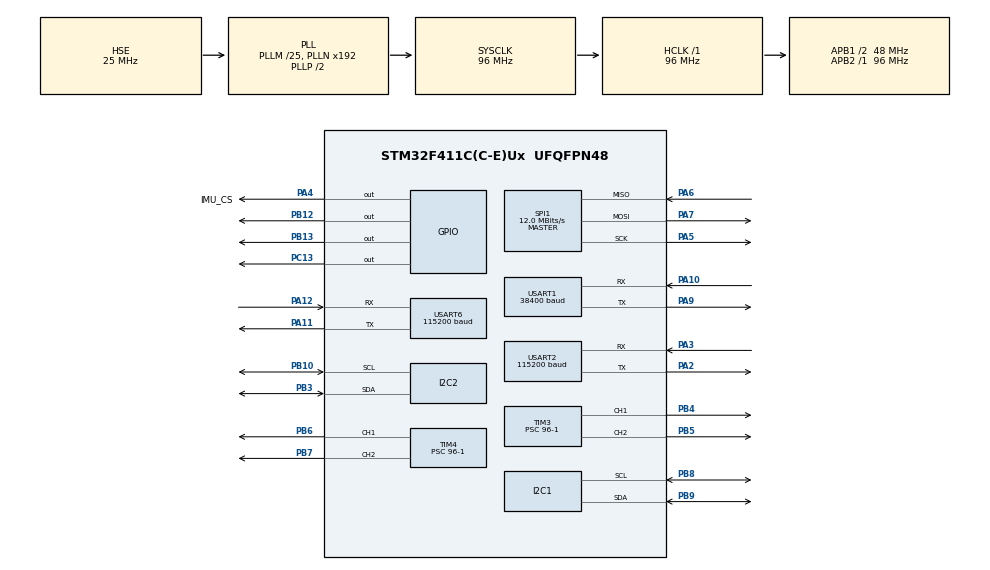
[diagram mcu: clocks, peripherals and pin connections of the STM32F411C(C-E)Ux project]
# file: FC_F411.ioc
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Dma.I2C1_RX.2.Direction=DMA_PERIPH_TO_MEMORY
Dma.I2C1_RX.2.FIFOMode=DMA_FIFOMODE_DISABLE
Dma.I2C1_RX.2.Instance=DMA1_Stream0
Dma.I2C1_RX.2.MemDataAlignment=DMA_MDATAALIGN_BYTE
Dma.I2C1_RX.2.MemInc=DMA_MINC_ENABLE
Dma.I2C1_RX.2.Mode=DMA_NORMAL
Dma.I2C1_RX.2.PeriphDataAlignment=DMA_PDATAALIGN_BYTE
Dma.I2C1_RX.2.PeriphInc=DMA_PINC_DISABLE
Dma.I2C1_RX.2.Priority=DMA_PRIORITY_MEDIUM
Dma.Request0=USART2_RX
Dma.Request1=USART1_RX
Dma.Request2=I2C1_RX
Dma.Request3=USART1_TX
Dma.Request4=USART6_RX
Dma.USART1_RX.1.Direction=DMA_PERIPH_TO_MEMORY
Dma.USART1_RX.1.FIFOMode=DMA_FIFOMODE_DISABLE
Dma.USART1_RX.1.Instance=DMA2_Stream2
Dma.USART1_RX.1.MemDataAlignment=DMA_MDATAALIGN_BYTE
Dma.USART1_RX.1.MemInc=DMA_MINC_ENABLE
Dma.USART1_RX.1.Mode=DMA_CIRCULAR
Dma.USART1_RX.1.PeriphDataAlignment=DMA_PDATAALIGN_BYTE
Dma.USART1_RX.1.PeriphInc=DMA_PINC_DISABLE
Dma.USART1_RX.1.Priority=DMA_PRIORITY_MEDIUM
Dma.USART1_TX.3.Direction=DMA_MEMORY_TO_PERIPH
Dma.USART1_TX.3.FIFOMode=DMA_FIFOMODE_DISABLE
Dma.USART1_TX.3.Instance=DMA2_Stream7
Dma.USART1_TX.3.MemDataAlignment=DMA_MDATAALIGN_BYTE
Dma.USART1_TX.3.MemInc=DMA_MINC_ENABLE
Dma.USART1_TX.3.Mode=DMA_NORMAL
Dma.USART1_TX.3.PeriphDataAlignment=DMA_PDATAALIGN_BYTE
Dma.USART1_TX.3.PeriphInc=DMA_PINC_DISABLE
Dma.USART1_TX.3.Priority=DMA_PRIORITY_MEDIUM
Dma.USART2_RX.0.Direction=DMA_PERIPH_TO_MEMORY
Dma.USART2_RX.0.FIFOMode=DMA_FIFOMODE_DISABLE
Dma.USART2_RX.0.Instance=DMA1_Stream5
Dma.USART2_RX.0.MemDataAlignment=DMA_MDATAALIGN_BYTE
Dma.USART2_RX.0.MemInc=DMA_MINC_ENABLE
Dma.USART2_RX.0.Mode=DMA_CIRCULAR
Dma.USART2_RX.0.PeriphDataAlignment=DMA_PDATAALIGN_BYTE
Dma.USART2_RX.0.PeriphInc=DMA_PINC_DISABLE
Dma.USART2_RX.0.Priority=DMA_PRIORITY_MEDIUM
Dma.USART6_RX.4.Direction=DMA_PERIPH_TO_MEMORY
Dma.USART6_RX.4.FIFOMode=DMA_FIFOMODE_DISABLE
Dma.USART6_RX.4.Instance=DMA2_Stream1
Dma.USART6_RX.4.MemDataAlignment=DMA_MDATAALIGN_BYTE
Dma.USART6_RX.4.MemInc=DMA_MINC_ENABLE
Dma.USART6_RX.4.Mode=DMA_CIRCULAR
Dma.USART6_RX.4.PeriphDataAlignment=DMA_PDATAALIGN_BYTE
Dma.USART6_RX.4.PeriphInc=DMA_PINC_DISABLE
Dma.USART6_RX.4.Priority=DMA_PRIORITY_HIGH
I2C1.I2C_Mode=I2C_Standard
I2C2.I2C_Mode=I2C_Standard
Mcu.Family=STM32F4
Mcu.Name=STM32F411C(C-E)Ux
Mcu.Package=UFQFPN48
NVIC.DMA1_Stream0_IRQn=true\:0\:0\:false\:false\:true\:false\:true\:true
NVIC.DMA1_Stream5_IRQn=true\:0\:0\:false\:false\:true\:false\:true\:true
NVIC.DMA2_Stream1_IRQn=true\:0\:0\:false\:false\:true\:false\:true\:true
NVIC.DMA2_Stream2_IRQn=true\:0\:0\:false\:false\:true\:false\:true\:true
NVIC.DMA2_Stream7_IRQn=true\:0\:0\:false\:false\:true\:false\:true\:true
NVIC.PriorityGroup=NVIC_PRIORITYGROUP_4
NVIC.USART1_IRQn=true\:0\:0\:false\:false\:true\:true\:true\:true
NVIC.USART2_IRQn=true\:0\:0\:false\:false\:true\:true\:true\:true
NVIC.USART6_IRQn=true\:0\:0\:false\:false\:true\:true\:true\:true
PA10.Mode=Asynchronous
PA10.Signal=USART1_RX
PA11.Mode=Asynchronous
PA11.Signal=USART6_TX
PA12.Mode=Asynchronous
PA12.Signal=USART6_RX
PA13.Mode=Serial_Wire
PA13.Signal=SYS_JTMS-SWDIO
PA14.Mode=Serial_Wire
PA14.Signal=SYS_JTCK-SWCLK
PA2.Mode=Asynchronous
PA2.Signal=USART2_TX
PA3.GPIO_PuPd=GPIO_PULLUP
PA3.Mode=Asynchronous
PA3.Signal=USART2_RX
PA4.GPIO_Label=IMU_CS
PA4.GPIO_Speed=GPIO_SPEED_FREQ_VERY_HIGH
PA4.PinState=GPIO_PIN_SET
PA4.Signal=GPIO_Output
PA5.Mode=Full_Duplex_Master
PA5.Signal=SPI1_SCK
PA6.Mode=Full_Duplex_Master
PA6.Signal=SPI1_MISO
PA7.Mode=Full_Duplex_Master
PA7.Signal=SPI1_MOSI
PA9.Mode=Asynchronous
PA9.Signal=USART1_TX
PB10.Mode=I2C
PB10.Signal=I2C2_SCL
PB12.Signal=GPIO_Output
PB13.Signal=GPIO_Output
PB3.Mode=I2C
PB3.Signal=I2C2_SDA
PB4.Signal=S_TIM3_CH1
PB5.Signal=S_TIM3_CH2
PB6.Signal=S_TIM4_CH1
PB7.Signal=S_TIM4_CH2
PB8.Mode=I2C
PB8.Signal=I2C1_SCL
PB9.Mode=I2C
PB9.Signal=I2C1_SDA
PC13-ANTI_TAMP.Signal=GPIO_Output
PH0\ -\ OSC_IN.Mode=HSE-External-Oscillator
PH0\ -\ OSC_IN.Signal=RCC_OSC_IN
PH1\ -\ OSC_OUT.Mode=HSE-External-Oscillator
PH1\ -\ OSC_OUT.Signal=RCC_OSC_OUT
ProjectManager.HeapSize=0x200
ProjectManager.StackSize=0x400
ProjectManager.TargetToolchain=STM32CubeIDE
RCC.48MHZClocksFreq_Value=48000000
RCC.AHBFreq_Value=96000000
RCC.APB1CLKDivider=RCC_HCLK_DIV2
RCC.APB1Freq_Value=48000000
RCC.APB1TimFreq_Value=96000000
RCC.APB2Freq_Value=96000000
RCC.APB2TimFreq_Value=96000000
RCC.CortexFreq_Value=96000000
RCC.HCLKFreq_Value=96000000
RCC.HSE_VALUE=25000000
RCC.HSI_VALUE=16000000
RCC.LSE_VALUE=32768
RCC.PLLM=25
RCC.PLLSourceVirtual=RCC_PLLSOURCE_HSE
RCC.SYSCLKFreq_VALUE=96000000
RCC.SYSCLKSource=RCC_SYSCLKSOURCE_PLLCLK
RCC.VCOOutputFreq_Value=192000000
SH.S_TIM3_CH1.0=TIM3_CH1,PWM Generation1 CH1
SH.S_TIM3_CH2.0=TIM3_CH2,PWM Generation2 CH2
SH.S_TIM4_CH1.0=TIM4_CH1,PWM Generation1 CH1
SH.S_TIM4_CH2.0=TIM4_CH2,PWM Generation2 CH2
SPI1.BaudRatePrescaler=SPI_BAUDRATEPRESCALER_8
SPI1.CLKPhase=SPI_PHASE_2EDGE
SPI1.CLKPolarity=SPI_POLARITY_HIGH
SPI1.CalculateBaudRate=12.0 MBits/s
SPI1.Direction=SPI_DIRECTION_2LINES
SPI1.Mode=SPI_MODE_MASTER
SPI1.VirtualType=VM_MASTER
STMicroelectronics.X-CUBE-ALGOBUILD.1.4.0.LibraryCcDSPOoLibraryJjDSPOoLibrary=true
TIM2.Prescaler=96-1
TIM3.Channel-PWM\ Generation1\ CH1=TIM_CHANNEL_1
TIM3.Channel-PWM\ Generation2\ CH2=TIM_CHANNEL_2
TIM3.Period=2500-1
TIM3.Prescaler=96-1
TIM3.Pulse-PWM\ Generation1\ CH1=1000
TIM3.Pulse-PWM\ Generation2\ CH2=1000
TIM4.Channel-PWM\ Generation1\ CH1=TIM_CHANNEL_1
TIM4.Channel-PWM\ Generation2\ CH2=TIM_CHANNEL_2
TIM4.Period=2500-1
TIM4.Prescaler=96-1
TIM4.Pulse-PWM\ Generation1\ CH1=1000
TIM4.Pulse-PWM\ Generation2\ CH2=1000
USART1.BaudRate=38400
USART1.VirtualMode=VM_ASYNC
USART2.BaudRate=115200
USART2.VirtualMode=VM_ASYNC
USART6.BaudRate=115200
USART6.VirtualMode=VM_ASYNC
VP_STMicroelectronics.X-CUBE-ALGOBUILD_VS_DSPOoLibraryJjLibrary_1.4.0_1.4.0.Mode=DSPOoLibraryJjLibrary
VP_TIM2_VS_ClockSourceINT.Mode=Internal
VP_TIM3_VS_ClockSourceINT.Mode=Internal
VP_TIM4_VS_ClockSourceINT.Mode=Internal
board=custom

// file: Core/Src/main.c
/* USER CODE BEGIN Header */
/**
  * @file           : main.c
  * @brief          : FLIGHT CONTROLLER - iNav Style, Modular Architecture
  * Updated         : Adapted from legacy monolithic main.c
  *                   - RC: iBUS via USART2 DMA (RcReceiver module)
  *                   - IMU: ICM20602 via SPI1 (imu_config module)
  *                   - MAG: HMC5883L/QMC5883L via I2C1 (magnetometer_sensor module)
  *                   - PID Tuning: USART1 DMA (pid_tuning module)
  *                   - Optical flow: USART6 direct MTF-02P parser
  *                   - Telemetry: disabled while USART1 is dedicated to optical RX
  *                   - Control: 1kHz loop, Angle / Rate mode switching
  */
/* USER CODE END Header */
#include "main.h"
#include "platform/dma.h"
#include "platform/i2c.h"
#include "platform/spi.h"
#include "platform/tim.h"
#include "platform/usart.h"
#include "platform/gpio.h"

/* USER CODE BEGIN Includes */
#include "sensor/imu_config.h"
#include "sensor/sensor_check.h"
#include "sensor/sensor_common.h"
#include "sensor/complementary_filter.h"
#include "sensor/magnetometer_sensor.h"
#include "sensor/bmp280_sensor.h"
#include "control/flight_control.h"
#include "input/rc_input.h"
#include "comm/optical_direct.h"
#include "comm/pid_tuning.h"
#include "comm/telemetry.h"
#include "platform/system_check.h"
/* USER CODE END Includes */

/* USER CODE BEGIN PD */
#define MAIN_LOOP_PERIOD_US            1000U   /* 1 kHz control loop */
#define MAIN_LOOP_OVERRUN_TOLERANCE_US 50U
#define MAIN_LOOP_DT_RESYNC_THRESHOLD  10000U  /* >10 ms → clamp dt */
#define MAIN_LOOP_DT_MAX_WINDOW_MS     1000U   /* rolling 1 s max for debugger */
#define UART1_TELEMETRY_ENABLED        1U      /* keep USART1 quiet for optical RX test */
#define TELEMETRY_PERIOD_MS             100U   /* 10 Hz telemetry */
#define MAG_UPDATE_DIV                  40U    /* 25 Hz magnetometer update */
#define BARO_UPDATE_DIV                100U    /* 10 Hz barometer update */
#define BARO_UPDATE_PHASE_DIV           20U    /* stagger baro away from mag */
#define OPTICAL_IDLE_MIN_SLACK_US      120U    /* keep this much margin before next 1kHz tick */
/* USER CODE END PD */

/* USER CODE BEGIN PV */
/* --- Pre-Flight Debug / Live Expressions --- */
volatile float Debug_Roll_Deg  = 0.0f;
volatile float Debug_Pitch_Deg = 0.0f;
volatile float Debug_Yaw_Deg   = 0.0f;

volatile float Debug_PID_Roll_Out      = 0.0f;
volatile float Debug_PID_Rate_Roll_Out = 0.0f;

/**
 * Debug_Prearm_Block_Reason:
 *   0 = OK / Armed
 *   1 = Sensor error or not calibrated
 *   2 = Throttle too high to arm
 *   3 = Arm switch not activated
 *   4 = RC link lost
 *   5 = Optical flow required but not ready
 */
volatile uint8_t Debug_Prearm_Block_Reason = 1U;

/* --- Motor PWM Outputs (for Live Expressions) --- */
volatile uint16_t Motor_M2_BR_Speed = 0U; /* PWM_MOTOR[0] → TIM3 CH1 */
volatile uint16_t Motor_M1_FR_Speed = 0U; /* PWM_MOTOR[1] → TIM3 CH2 */
volatile uint16_t Motor_M4_FL_Speed = 0U; /* PWM_MOTOR[2] → TIM4 CH1 */
volatile uint16_t Motor_M3_BL_Speed = 0U; /* PWM_MOTOR[3] → TIM4 CH2 */

/* --- Telemetry --- */
#if UART1_TELEMETRY_ENABLED
uint32_t last_telemetry_time = 0U;
#endif

/* --- Loop timing diagnostics --- */
volatile uint32_t loop_dt_us       = 0U;
volatile uint32_t loop_dt_max_us   = 0U;
volatile uint32_t loop_overrun_count = 0U;
volatile uint32_t loop_exec_us     = 0U;
volatile uint32_t loop_exec_max_us = 0U;

/* --- System ready flag --- */
volatile uint8_t fc_preflight_ready = 0U;
/* USER CODE END PV */

void SystemClock_Config(void);

int main(void)
{

  /* MCU Configuration--------------------------------------------------------*/

  /* Reset of all peripherals, Initializes the Flash interface and the Systick. */
  HAL_Init();

  /* Configure the system clock */
  SystemClock_Config();

  /* Initialize all configured peripherals */
  MX_GPIO_Init();
  MX_DMA_Init();
  MX_TIM2_Init();
  MX_TIM3_Init();
  MX_TIM4_Init();
  MX_SPI1_Init();
  MX_USART2_UART_Init();
  MX_USART1_UART_Init();
  MX_USART6_UART_Init();
  MX_I2C1_Init();
  MX_I2C2_Init();
  /* USER CODE BEGIN 2 */
  /* Start ESC idle PWM before long startup delays so the ESCs can finish
   * their power-up/arming tone sequence reliably.
   */
  FlightController_InitMotorOutputs();

  /* Startup LED blink (3×) */
  HAL_GPIO_TogglePin(GPIOC, GPIO_PIN_13); HAL_Delay(200U);
  HAL_GPIO_TogglePin(GPIOC, GPIO_PIN_13); HAL_Delay(200U);
  HAL_GPIO_TogglePin(GPIOC, GPIO_PIN_13);

  /* System health check initialization (sensor probe + calibration) */
  SystemCheck_Init();

  /* iBUS RC receiver – USART2 DMA ring buffer */
  RcReceiver_Init();

  /* µs timebase for the control loop */
  HAL_TIM_Base_Start(&htim2);

  /* Magnetometer continuous mode */
  Magnetometer_Init();

  /* Reset filter & PIDs */
  Complimentary_Filter_Reset(&Complimentary_Filter);
  RESET_ALL_PID();

  /* PID tuning UART (USART1) */
  PidTuning_Init();

  /* Direct optical flow UART (USART6 PA11/PA12) */
  OpticalDirect_Init();

  /* Safe initial state */
  enable_motor        = 0U;
  ARM_Status          = NOT_ARM;
  Throttle            = 1000.0f;
  angle_desired[0]    = 0.0f;
  angle_desired[1]    = 0.0f;
  angle_desired[2]    = 0.0f;
  angle_rate_desired[0] = 0.0f;
  angle_rate_desired[1] = 0.0f;
  angle_rate_desired[2] = 0.0f;

  MPU6500_DATA.dt        = (float32_t)MAIN_LOOP_PERIOD_US * 1.0e-6f;
  MPU6500_DATA.timestamp = TIM2->CNT;

  uint32_t last_loop_time = TIM2->CNT;
  uint32_t loop_dt_window_start_ms = HAL_GetTick();
  uint8_t  mag_div        = 0U;
  /* USER CODE END 2 */

  /* Infinite loop */
  /* USER CODE BEGIN WHILE */
  while (1)
  {
    uint32_t now_ms      = HAL_GetTick();
    uint32_t current_time = TIM2->CNT;
    uint32_t elapsed_since_loop = current_time - last_loop_time;

    /* USER CODE END WHILE */

    /* ================================================================
     * MAIN CONTROL LOOP – 1 kHz
     * ================================================================ */
    if (elapsed_since_loop >= MAIN_LOOP_PERIOD_US) {
      uint32_t dt_us = elapsed_since_loop;
      last_loop_time = current_time;

      if ((uint32_t)(now_ms - loop_dt_window_start_ms) >= MAIN_LOOP_DT_MAX_WINDOW_MS) {
        loop_dt_window_start_ms = now_ms;
        loop_dt_max_us = 0U;
        loop_exec_max_us = 0U;
      }

      /* Loop timing diagnostics */
      loop_dt_us = dt_us;
      if ((dt_us <= MAIN_LOOP_DT_RESYNC_THRESHOLD) && (dt_us > loop_dt_max_us)) {
        loop_dt_max_us = dt_us;
      }
      /* Clamp dt on long stalls (e.g. first iteration) */
      if (dt_us > MAIN_LOOP_DT_RESYNC_THRESHOLD) {
        dt_us = MAIN_LOOP_PERIOD_US;
      }

      MPU6500_DATA.dt        = (float32_t)dt_us * 1.0e-6f;
      MPU6500_DATA.timestamp = current_time;

      /* iBUS RC has control priority: drain UART2 DMA before MPC reads commands. */
      RcReceiver_Process_DMA_Ring_Buffer();
      RcReceiver_UpdateLinkStatus(now_ms);

      /* Keep optical UART6 parser alive even when there is little idle time. */
      OpticalDirect_Process();

      /* ---------- Sensor update ---------- */
      IMU_PROCESS();
      icm20602_last_read_ok = ICM20602_GetLastReadOk();

      Complimentary_Filter_Predict(&Complimentary_Filter, &MPU6500_DATA);

      /* Magnetometer: read at 50 Hz and correct complementary-filter yaw drift */
      mag_div++;
      if (mag_div >= MAG_UPDATE_DIV) {
        mag_div = 0U;
        COMPASS_PROCESS();
        if (Magnetometer_GetLastReadOk() != 0U) {
          Complimentary_Filter_Update(&Complimentary_Filter, &MAG_DATA_INST);
        }
      }

      /* ---------- Flight control (PID + motor mix) ---------- */
      MPC();

      /* ---------- Motor speed snapshot ---------- */
      Motor_M2_BR_Speed = (uint16_t)PWM_MOTOR[0];
      Motor_M1_FR_Speed = (uint16_t)PWM_MOTOR[1];
      Motor_M4_FL_Speed = (uint16_t)PWM_MOTOR[2];
      Motor_M3_BL_Speed = (uint16_t)PWM_MOTOR[3];

      /* ================================================================
       * BACKGROUND TASKS (Low Priority)
       * Chạy ngay sau khi tính toán 1kHz xong để tận dụng thời gian rảnh
       * ================================================================ */

      static uint8_t baro_div = BARO_UPDATE_PHASE_DIV;
      baro_div++;
      if (baro_div >= BARO_UPDATE_DIV) { /* 1000Hz / 40 = 25Hz */
          baro_div = 0;
          BARO_PROCESS();
      }

      Magnetometer_Service(now_ms);
      BMP280_Service(now_ms);

      /* System health and heartbeat update */
      SystemCheck_Update(now_ms, mag_div);

      /* PID tuning command parser (USART1) */
      PidTuning_ProcessPendingCommand();

      /* ── Measure exec time BEFORE telemetry (snprintf nặng, không tính vào loop) ── */
      {
        uint32_t exec_us = TIM2->CNT - current_time;
        loop_exec_us = exec_us;
        if ((exec_us <= MAIN_LOOP_DT_RESYNC_THRESHOLD) && (exec_us > loop_exec_max_us)) {
          loop_exec_max_us = exec_us;
        }
        if (exec_us > (MAIN_LOOP_PERIOD_US + MAIN_LOOP_OVERRUN_TOLERANCE_US)) {
          loop_overrun_count++;
        }
      }

      /* Telemetry @ 10 Hz – chạy SAU khi đo exec_us để không ảnh hưởng timing */
#if UART1_TELEMETRY_ENABLED
      if ((now_ms - last_telemetry_time) >= TELEMETRY_PERIOD_MS) {
        Send_Telemetry();
        last_telemetry_time = now_ms;
      }
#endif
    } else if ((MAIN_LOOP_PERIOD_US - elapsed_since_loop) > OPTICAL_IDLE_MIN_SLACK_US) {
      RcReceiver_Process_DMA_Ring_Buffer();
      RcReceiver_UpdateLinkStatus(HAL_GetTick());

      /* Use idle slack to catch up any remaining optical UART backlog. */
      OpticalDirect_Process();
    }
  }
  /* USER CODE END 3 */
}

void SystemClock_Config(void)
{
  RCC_OscInitTypeDef RCC_OscInitStruct = {0};
  RCC_ClkInitTypeDef RCC_ClkInitStruct = {0};

  /** Configure the main internal regulator output voltage
  */
  __HAL_RCC_PWR_CLK_ENABLE();
  __HAL_PWR_VOLTAGESCALING_CONFIG(PWR_REGULATOR_VOLTAGE_SCALE1);

  /** Initializes the RCC Oscillators according to the specified parameters
  * in the RCC_OscInitTypeDef structure.
  */
  RCC_OscInitStruct.OscillatorType = RCC_OSCILLATORTYPE_HSE;
  RCC_OscInitStruct.HSEState = RCC_HSE_ON;
  RCC_OscInitStruct.PLL.PLLState = RCC_PLL_ON;
  RCC_OscInitStruct.PLL.PLLSource = RCC_PLLSOURCE_HSE;
  RCC_OscInitStruct.PLL.PLLM = 25;
  RCC_OscInitStruct.PLL.PLLN = 192;
  RCC_OscInitStruct.PLL.PLLP = RCC_PLLP_DIV2;
  RCC_OscInitStruct.PLL.PLLQ = 4;
  if (HAL_RCC_OscConfig(&RCC_OscInitStruct) != HAL_OK)
  {
    Error_Handler();
  }

  /** Initializes the CPU, AHB and APB buses clocks
  */
  RCC_ClkInitStruct.ClockType = RCC_CLOCKTYPE_HCLK|RCC_CLOCKTYPE_SYSCLK
                              |RCC_CLOCKTYPE_PCLK1|RCC_CLOCKTYPE_PCLK2;
  RCC_ClkInitStruct.SYSCLKSource = RCC_SYSCLKSOURCE_PLLCLK;
  RCC_ClkInitStruct.AHBCLKDivider = RCC_SYSCLK_DIV1;
  RCC_ClkInitStruct.APB1CLKDivider = RCC_HCLK_DIV2;
  RCC_ClkInitStruct.APB2CLKDivider = RCC_HCLK_DIV1;

  if (HAL_RCC_ClockConfig(&RCC_ClkInitStruct, FLASH_LATENCY_3) != HAL_OK)
  {
    Error_Handler();
  }
}

/* USER CODE BEGIN 4 */

/**
 * @brief  Dispatches UART idle/DMA events.
 *         - USART1 → PID tuning command parser
 *         - USART2 → handled transparently by the DMA ring-buffer;
 *           iBUS frames are parsed in RcReceiver_Process_DMA_Ring_Buffer()
 */
void HAL_UARTEx_RxEventCallback(UART_HandleTypeDef *huart, uint16_t Size)
{
  PidTuning_HandleRxEvent(huart, Size);
}

/**
 * @brief  UART error recovery.
 *         Both pid_tuning and rc_input modules handle their own instance.
 */
void HAL_UART_ErrorCallback(UART_HandleTypeDef *huart)
{
  PidTuning_HandleUartError(huart);
  OpticalDirect_HandleUartError(huart);
  RcReceiver_HandleUartError(huart);
}

/* USER CODE END 4 */

void Error_Handler(void)
{
  __disable_irq();
  while (1)
  {
  }
}
